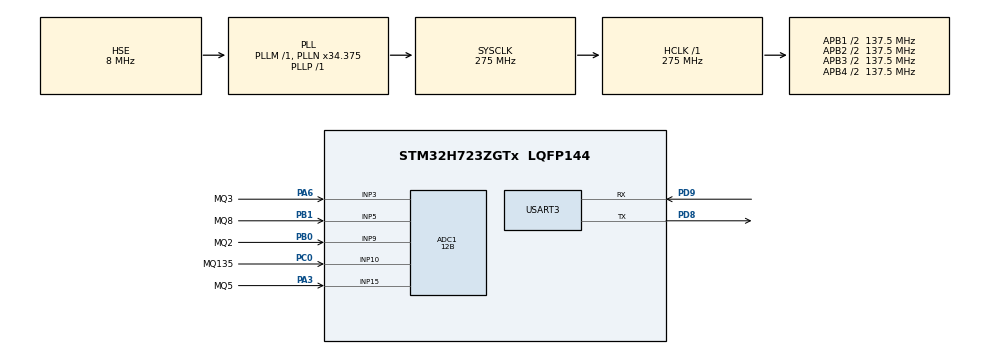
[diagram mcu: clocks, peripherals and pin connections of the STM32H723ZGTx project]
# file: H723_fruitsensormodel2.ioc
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ADC1.Channel-0\#ChannelRegularConversion=ADC_CHANNEL_3
ADC1.Channel-1\#ChannelRegularConversion=ADC_CHANNEL_5
ADC1.Channel-2\#ChannelRegularConversion=ADC_CHANNEL_9
ADC1.Channel-3\#ChannelRegularConversion=ADC_CHANNEL_10
ADC1.Channel-4\#ChannelRegularConversion=ADC_CHANNEL_15
ADC1.ContinuousConvMode=ENABLE
ADC1.NbrOfConversion=5
ADC1.NbrOfConversionFlag=1
ADC1.OffsetNumber-0\#ChannelRegularConversion=ADC_OFFSET_NONE
ADC1.OffsetNumber-1\#ChannelRegularConversion=ADC_OFFSET_NONE
ADC1.OffsetNumber-2\#ChannelRegularConversion=ADC_OFFSET_NONE
ADC1.OffsetNumber-3\#ChannelRegularConversion=ADC_OFFSET_NONE
ADC1.OffsetNumber-4\#ChannelRegularConversion=ADC_OFFSET_NONE
ADC1.OffsetSignedSaturation-0\#ChannelRegularConversion=DISABLE
ADC1.Rank-0\#ChannelRegularConversion=1
ADC1.Rank-1\#ChannelRegularConversion=2
ADC1.Rank-2\#ChannelRegularConversion=3
ADC1.Rank-3\#ChannelRegularConversion=4
ADC1.Rank-4\#ChannelRegularConversion=5
ADC1.Resolution=ADC_RESOLUTION_12B
ADC1.SamplingTime-0\#ChannelRegularConversion=ADC_SAMPLETIME_387CYCLES_5
ADC1.SamplingTime-1\#ChannelRegularConversion=ADC_SAMPLETIME_387CYCLES_5
ADC1.SamplingTime-2\#ChannelRegularConversion=ADC_SAMPLETIME_387CYCLES_5
ADC1.SamplingTime-3\#ChannelRegularConversion=ADC_SAMPLETIME_387CYCLES_5
ADC1.SamplingTime-4\#ChannelRegularConversion=ADC_SAMPLETIME_387CYCLES_5
ADC1.master=1
CORTEX_M7.CPU_DCache=Enabled
CORTEX_M7.CPU_ICache=Enabled
CORTEX_M7.default_mode_Activation=1
Mcu.Family=STM32H7
Mcu.Name=STM32H723ZGTx
Mcu.Package=LQFP144
NVIC.ADC_IRQn=true\:0\:0\:false\:false\:true\:true\:true\:true
NVIC.PriorityGroup=NVIC_PRIORITYGROUP_4
PA3.GPIO_Label=MQ5
PA3.Signal=ADCx_INP15
PA6.GPIO_Label=MQ3
PA6.Signal=ADCx_INP3
PB0.GPIO_Label=MQ2
PB0.Signal=ADCx_INP9
PB1.GPIO_Label=MQ8
PB1.Signal=ADCx_INP5
PC0.GPIO_Label=MQ135
PC0.Signal=ADCx_INP10
PD8.Mode=Asynchronous
PD8.Signal=USART3_TX
PD9.Mode=Asynchronous
PD9.Signal=USART3_RX
PH0-OSC_IN.Mode=HSE-External-Clock-Source
PH0-OSC_IN.Signal=RCC_OSC_IN
ProjectManager.HeapSize=0x800
ProjectManager.StackSize=0x800
ProjectManager.TargetToolchain=STM32CubeIDE
RCC.ADCFreq_Value=96000000
RCC.APB1Freq_Value=137500000
RCC.APB2Freq_Value=137500000
RCC.APB3Freq_Value=137500000
RCC.APB4Freq_Value=137500000
RCC.CortexFreq_Value=275000000
RCC.D1PPRE=RCC_APB3_DIV2
RCC.D2PPRE1=RCC_APB1_DIV2
RCC.D2PPRE2=RCC_APB2_DIV2
RCC.D3PPRE=RCC_APB4_DIV2
RCC.DIVM1=1
RCC.DIVM2=1
RCC.DIVN1=34
RCC.DIVN2=24
RCC.DIVP1=1
RCC.DIVQ1=4
RCC.HCLKFreq_Value=275000000
RCC.HSE_VALUE=8000000
RCC.PLL2FRACN=0
RCC.PLLFRACN=3072
RCC.PLLSourceVirtual=RCC_PLLSOURCE_HSE
RCC.SYSCLKFreq_VALUE=275000000
RCC.SYSCLKSource=RCC_SYSCLKSOURCE_PLLCLK
RCC.USBCLockSelection=RCC_USBCLKSOURCE_HSI48
RCC.USBFreq_Value=48000000
SH.ADCx_INP10.0=ADC1_INP10,IN10-Single-Ended
SH.ADCx_INP15.0=ADC1_INP15,IN15-Single-Ended
SH.ADCx_INP3.0=ADC1_INP3,IN3-Single-Ended
SH.ADCx_INP5.0=ADC1_INP5,IN5-Single-Ended
SH.ADCx_INP9.0=ADC1_INP9,IN9-Single-Ended
STMicroelectronics.X-CUBE-AI.9.0.0.ActivationBufferSizeList=196
STMicroelectronics.X-CUBE-AI.9.0.0.ActivationBuffers=pool0
STMicroelectronics.X-CUBE-AI.9.0.0.ActivationNames=pool0
STMicroelectronics.X-CUBE-AI.9.0.0.ActivationSizes=AI_NETWORK_DATA_ACTIVATION_1_SIZE
STMicroelectronics.X-CUBE-AI.9.0.0.ApplicationCcDeviceJjApplication=SystemPerformance
STMicroelectronics.X-CUBE-AI.9.0.0.BSP.number=1
STMicroelectronics.X-CUBE-AI.9.0.0.HeapSize=0x800
STMicroelectronics.X-CUBE-AI.9.0.0.InternalRamActivationBufferMaxSize=AI_NETWORK_DATA_ACTIVATIONS_SIZE
STMicroelectronics.X-CUBE-AI.9.0.0.LatestDirectoryUsed-d72144a6ae931de610808f00c2bc278851ed192fb6b926bebb1003e5616d4512=C\:\\Users\\gouiaa\\Downloads\\New folder
STMicroelectronics.X-CUBE-AI.9.0.0.MaximumNumberOfInputLayer=1
STMicroelectronics.X-CUBE-AI.9.0.0.MaximumNumberOfOutputLayer=1
STMicroelectronics.X-CUBE-AI.9.0.0.MaximumSizeOfInputLayer=1
STMicroelectronics.X-CUBE-AI.9.0.0.MaximumSizeOfOutputLayer=1
STMicroelectronics.X-CUBE-AI.9.0.0.ModelActualCompression-d72144a6ae931de610808f00c2bc278851ed192fb6b926bebb1003e5616d4512=0.0
STMicroelectronics.X-CUBE-AI.9.0.0.ModelCompression-d72144a6ae931de610808f00c2bc278851ed192fb6b926bebb1003e5616d4512=None
STMicroelectronics.X-CUBE-AI.9.0.0.ModelFlashOccupation-d72144a6ae931de610808f00c2bc278851ed192fb6b926bebb1003e5616d4512=316
STMicroelectronics.X-CUBE-AI.9.0.0.ModelHashList=d72144a6ae931de610808f00c2bc278851ed192fb6b926bebb1003e5616d4512
STMicroelectronics.X-CUBE-AI.9.0.0.ModelKind-d72144a6ae931de610808f00c2bc278851ed192fb6b926bebb1003e5616d4512=TFLITE
STMicroelectronics.X-CUBE-AI.9.0.0.ModelMacc-d72144a6ae931de610808f00c2bc278851ed192fb6b926bebb1003e5616d4512=242
STMicroelectronics.X-CUBE-AI.9.0.0.ModelName-d72144a6ae931de610808f00c2bc278851ed192fb6b926bebb1003e5616d4512=network
STMicroelectronics.X-CUBE-AI.9.0.0.ModelNameList=network
STMicroelectronics.X-CUBE-AI.9.0.0.ModelRamOccupation-d72144a6ae931de610808f00c2bc278851ed192fb6b926bebb1003e5616d4512=196
STMicroelectronics.X-CUBE-AI.9.0.0.ModelStructureFile-d72144a6ae931de610808f00c2bc278851ed192fb6b926bebb1003e5616d4512=C\:\\Users\\gouiaa\\Downloads\\New folder\\fruit_model_int8.tflite
STMicroelectronics.X-CUBE-AI.9.0.0.ModelType-d72144a6ae931de610808f00c2bc278851ed192fb6b926bebb1003e5616d4512=STM32Cube.AI MCU runtime
STMicroelectronics.X-CUBE-AI.9.0.0.ReadyForCodeGeneration=true
STMicroelectronics.X-CUBE-AI.9.0.0.StackSize=0x800
STMicroelectronics.X-CUBE-AI.9.0.0.WorkingBufferStartAddrList=0xFFFFFFFF
STMicroelectronics.X-CUBE-AI.9.0.0.XAaCUBEAaAICcArtificialOoIntelligenceJjCore=true
STMicroelectronics.X-CUBE-AI.9.0.0.copyWeightToRam=false
STMicroelectronics.X-CUBE-AI.9.0.0.copyWeightToRam-d72144a6ae931de610808f00c2bc278851ed192fb6b926bebb1003e5616d4512=false
STMicroelectronics.X-CUBE-AI.9.0.0.customLayerConfigEnabled=false
STMicroelectronics.X-CUBE-AI.9.0.0.customLayerConfigEnabled-d72144a6ae931de610808f00c2bc278851ed192fb6b926bebb1003e5616d4512=false
STMicroelectronics.X-CUBE-AI.9.0.0.noOnnxIoTranspose=false
STMicroelectronics.X-CUBE-AI.9.0.0.noOnnxIoTranspose-d72144a6ae931de610808f00c2bc278851ed192fb6b926bebb1003e5616d4512=false
STMicroelectronics.X-CUBE-AI.9.0.0.useInputAllocation=true
STMicroelectronics.X-CUBE-AI.9.0.0.useInputAllocation-d72144a6ae931de610808f00c2bc278851ed192fb6b926bebb1003e5616d4512=true
STMicroelectronics.X-CUBE-AI.9.0.0.useOutputAllocation=true
STMicroelectronics.X-CUBE-AI.9.0.0.useOutputAllocation-d72144a6ae931de610808f00c2bc278851ed192fb6b926bebb1003e5616d4512=true
STMicroelectronics.X-CUBE-AI.9.0.00.BSP.STBoard=false
STMicroelectronics.X-CUBE-AI.9.0.00.BSP.api=Unknown
STMicroelectronics.X-CUBE-AI.9.0.00.BSP.condition=\!SEMDeviceJjApplicationJjApplicationTemplate
STMicroelectronics.X-CUBE-AI.9.0.00.BSP.instance=USART3
STMicroelectronics.X-CUBE-AI.9.0.00.BSP.ip=USART
STMicroelectronics.X-CUBE-AI.9.0.00.BSP.mode=Asynchronous
STMicroelectronics.X-CUBE-AI.9.0.00.BSP.name=COM Port
STMicroelectronics.X-CUBE-AI.9.0.00.BSP.solution=USART3
USART3.VirtualMode-Asynchronous=VM_ASYNC
VP_MEMORYMAP_VS_MEMORYMAP.Mode=CurAppReg
VP_STMicroelectronics.X-CUBE-AI_VS_ArtificialOoIntelligenceJjXAaCUBEAaAI_9.0.0.Mode=ArtificialOoIntelligenceJjXAaCUBEAaAI
VP_STMicroelectronics.X-CUBE-AI_VS_DeviceJjApplication_9.0.0.Mode=DeviceJjApplication
board=NUCLEO-H723ZG

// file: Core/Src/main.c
/* USER CODE BEGIN Header */
/**
  ******************************************************************************
  * @file           : main.c
  * @brief          : Main program body
  ******************************************************************************
  * @attention
  *
  * Copyright (c) 2026 STMicroelectronics.
  * All rights reserved.
  *
  * This software is licensed under terms that can be found in the LICENSE file
  * in the root directory of this software component.
  * If no LICENSE file comes with this software, it is provided AS-IS.
  *
  ******************************************************************************
  */
/* USER CODE END Header */
#include "main.h"
#include "app_x-cube-ai.h"

ADC_HandleTypeDef hadc1;

UART_HandleTypeDef huart3;

void SystemClock_Config(void);
static void MPU_Config(void);
static void MX_GPIO_Init(void);
static void MX_ADC1_Init(void);

int main(void)
{

  /* MPU Configuration--------------------------------------------------------*/
  MPU_Config();

  /* Enable the CPU Cache */

  /* Enable I-Cache---------------------------------------------------------*/
  SCB_EnableICache();

  /* Enable D-Cache---------------------------------------------------------*/
  SCB_EnableDCache();

  /* MCU Configuration--------------------------------------------------------*/

  /* Reset of all peripherals, Initializes the Flash interface and the Systick. */
  HAL_Init();

  /* Configure the system clock */
  SystemClock_Config();

  /* Initialize all configured peripherals */
  MX_GPIO_Init();
  MX_ADC1_Init();
  MX_X_CUBE_AI_Init();
  /* USER CODE BEGIN 2 */
  MX_USART3_UART_Init();

  /* USER CODE END 2 */

  /* Infinite loop */
  while (1)
  {

  MX_X_CUBE_AI_Process();
  HAL_Delay(1000);
  }
}

void SystemClock_Config(void)
{
  RCC_OscInitTypeDef RCC_OscInitStruct = {0};
  RCC_ClkInitTypeDef RCC_ClkInitStruct = {0};

  /** Supply configuration update enable
  */
  HAL_PWREx_ConfigSupply(PWR_LDO_SUPPLY);

  /** Configure the main internal regulator output voltage
  */
  __HAL_PWR_VOLTAGESCALING_CONFIG(PWR_REGULATOR_VOLTAGE_SCALE0);

  while(!__HAL_PWR_GET_FLAG(PWR_FLAG_VOSRDY)) {}

  /** Initializes the RCC Oscillators according to the specified parameters
  * in the RCC_OscInitTypeDef structure.
  */
  RCC_OscInitStruct.OscillatorType = RCC_OSCILLATORTYPE_HSE;
  RCC_OscInitStruct.HSEState = RCC_HSE_BYPASS;
  RCC_OscInitStruct.PLL.PLLState = RCC_PLL_ON;
  RCC_OscInitStruct.PLL.PLLSource = RCC_PLLSOURCE_HSE;
  RCC_OscInitStruct.PLL.PLLM = 1;
  RCC_OscInitStruct.PLL.PLLN = 34;
  RCC_OscInitStruct.PLL.PLLP = 1;
  RCC_OscInitStruct.PLL.PLLQ = 4;
  RCC_OscInitStruct.PLL.PLLR = 2;
  RCC_OscInitStruct.PLL.PLLRGE = RCC_PLL1VCIRANGE_3;
  RCC_OscInitStruct.PLL.PLLVCOSEL = RCC_PLL1VCOWIDE;
  RCC_OscInitStruct.PLL.PLLFRACN = 3072;
  if (HAL_RCC_OscConfig(&RCC_OscInitStruct) != HAL_OK)
  {
    Error_Handler();
  }

  /** Initializes the CPU, AHB and APB buses clocks
  */
  RCC_ClkInitStruct.ClockType = RCC_CLOCKTYPE_HCLK|RCC_CLOCKTYPE_SYSCLK
                              |RCC_CLOCKTYPE_PCLK1|RCC_CLOCKTYPE_PCLK2
                              |RCC_CLOCKTYPE_D3PCLK1|RCC_CLOCKTYPE_D1PCLK1;
  RCC_ClkInitStruct.SYSCLKSource = RCC_SYSCLKSOURCE_PLLCLK;
  RCC_ClkInitStruct.SYSCLKDivider = RCC_SYSCLK_DIV1;
  RCC_ClkInitStruct.AHBCLKDivider = RCC_HCLK_DIV1;
  RCC_ClkInitStruct.APB3CLKDivider = RCC_APB3_DIV2;
  RCC_ClkInitStruct.APB1CLKDivider = RCC_APB1_DIV2;
  RCC_ClkInitStruct.APB2CLKDivider = RCC_APB2_DIV2;
  RCC_ClkInitStruct.APB4CLKDivider = RCC_APB4_DIV2;

  if (HAL_RCC_ClockConfig(&RCC_ClkInitStruct, FLASH_LATENCY_3) != HAL_OK)
  {
    Error_Handler();
  }
}

static void MX_ADC1_Init(void)
{

  ADC_MultiModeTypeDef multimode = {0};
  ADC_ChannelConfTypeDef sConfig = {0};

  /** Common config
  */
  hadc1.Instance = ADC1;
  hadc1.Init.ClockPrescaler = ADC_CLOCK_ASYNC_DIV1;
  hadc1.Init.Resolution = ADC_RESOLUTION_12B;
  hadc1.Init.ScanConvMode = ADC_SCAN_ENABLE;
  hadc1.Init.EOCSelection = ADC_EOC_SINGLE_CONV;
  hadc1.Init.LowPowerAutoWait = DISABLE;
  hadc1.Init.ContinuousConvMode = ENABLE;
  hadc1.Init.NbrOfConversion = 5;
  hadc1.Init.DiscontinuousConvMode = DISABLE;
  hadc1.Init.ExternalTrigConv = ADC_SOFTWARE_START;
  hadc1.Init.ExternalTrigConvEdge = ADC_EXTERNALTRIGCONVEDGE_NONE;
  hadc1.Init.ConversionDataManagement = ADC_CONVERSIONDATA_DR;
  hadc1.Init.Overrun = ADC_OVR_DATA_PRESERVED;
  hadc1.Init.LeftBitShift = ADC_LEFTBITSHIFT_NONE;
  hadc1.Init.OversamplingMode = DISABLE;
  hadc1.Init.Oversampling.Ratio = 1;
  if (HAL_ADC_Init(&hadc1) != HAL_OK)
  {
    Error_Handler();
  }

  /** Configure the ADC multi-mode
  */
  multimode.Mode = ADC_MODE_INDEPENDENT;
  if (HAL_ADCEx_MultiModeConfigChannel(&hadc1, &multimode) != HAL_OK)
  {
    Error_Handler();
  }

  /** Configure Regular Channel
  */
  sConfig.Channel = ADC_CHANNEL_3;
  sConfig.Rank = ADC_REGULAR_RANK_1;
  sConfig.SamplingTime = ADC_SAMPLETIME_387CYCLES_5;
  sConfig.SingleDiff = ADC_SINGLE_ENDED;
  sConfig.OffsetNumber = ADC_OFFSET_NONE;
  sConfig.Offset = 0;
  sConfig.OffsetSignedSaturation = DISABLE;
  if (HAL_ADC_ConfigChannel(&hadc1, &sConfig) != HAL_OK)
  {
    Error_Handler();
  }

  /** Configure Regular Channel
  */
  sConfig.Channel = ADC_CHANNEL_5;
  sConfig.Rank = ADC_REGULAR_RANK_2;
  if (HAL_ADC_ConfigChannel(&hadc1, &sConfig) != HAL_OK)
  {
    Error_Handler();
  }

  /** Configure Regular Channel
  */
  sConfig.Channel = ADC_CHANNEL_9;
  sConfig.Rank = ADC_REGULAR_RANK_3;
  if (HAL_ADC_ConfigChannel(&hadc1, &sConfig) != HAL_OK)
  {
    Error_Handler();
  }

  /** Configure Regular Channel
  */
  sConfig.Channel = ADC_CHANNEL_10;
  sConfig.Rank = ADC_REGULAR_RANK_4;
  if (HAL_ADC_ConfigChannel(&hadc1, &sConfig) != HAL_OK)
  {
    Error_Handler();
  }

  /** Configure Regular Channel
  */
  sConfig.Channel = ADC_CHANNEL_15;
  sConfig.Rank = ADC_REGULAR_RANK_5;
  if (HAL_ADC_ConfigChannel(&hadc1, &sConfig) != HAL_OK)
  {
    Error_Handler();
  }

}

void MX_USART3_UART_Init(void)
{

  huart3.Instance = USART3;
  huart3.Init.BaudRate = 115200;
  huart3.Init.WordLength = UART_WORDLENGTH_8B;
  huart3.Init.StopBits = UART_STOPBITS_1;
  huart3.Init.Parity = UART_PARITY_NONE;
  huart3.Init.Mode = UART_MODE_TX_RX;
  huart3.Init.HwFlowCtl = UART_HWCONTROL_NONE;
  huart3.Init.OverSampling = UART_OVERSAMPLING_16;
  huart3.Init.OneBitSampling = UART_ONE_BIT_SAMPLE_DISABLE;
  huart3.Init.ClockPrescaler = UART_PRESCALER_DIV1;
  huart3.AdvancedInit.AdvFeatureInit = UART_ADVFEATURE_NO_INIT;
  if (HAL_UART_Init(&huart3) != HAL_OK)
  {
    Error_Handler();
  }
  if (HAL_UARTEx_SetTxFifoThreshold(&huart3, UART_TXFIFO_THRESHOLD_1_8) != HAL_OK)
  {
    Error_Handler();
  }
  if (HAL_UARTEx_SetRxFifoThreshold(&huart3, UART_RXFIFO_THRESHOLD_1_8) != HAL_OK)
  {
    Error_Handler();
  }
  if (HAL_UARTEx_DisableFifoMode(&huart3) != HAL_OK)
  {
    Error_Handler();
  }

}

static void MX_GPIO_Init(void)
{

  /* GPIO Ports Clock Enable */
  __HAL_RCC_GPIOH_CLK_ENABLE();
  __HAL_RCC_GPIOC_CLK_ENABLE();
  __HAL_RCC_GPIOA_CLK_ENABLE();
  __HAL_RCC_GPIOB_CLK_ENABLE();
  __HAL_RCC_GPIOD_CLK_ENABLE();

}

/* USER CODE BEGIN 4 */
void Read_All_Sensors(float *mq2,
                      float *mq3,
                      float *mq5,
                      float *mq8,
                      float *mq135)
{
    uint32_t adc_vals[5];

    HAL_ADC_Start(&hadc1);

    for(int i=0;i<5;i++)
    {
        HAL_ADC_PollForConversion(&hadc1,100);
        adc_vals[i] = HAL_ADC_GetValue(&hadc1);
    }

    HAL_ADC_Stop(&hadc1);

    *mq5   = adc_vals[0];
    *mq8   = adc_vals[1];
    *mq2   = adc_vals[2];
    *mq135 = adc_vals[3];
    *mq3   = adc_vals[4];
}
/* USER CODE END 4 */

 /* MPU Configuration */

void MPU_Config(void)
{  MPU_Region_InitTypeDef MPU_InitStruct = {0};

  /* Disables the MPU */
  HAL_MPU_Disable();

  /** Initializes and configures the Region and the memory to be protected
  */
  MPU_InitStruct.Enable = MPU_REGION_ENABLE;
  MPU_InitStruct.Number = MPU_REGION_NUMBER0;
  MPU_InitStruct.BaseAddress = 0x0;
  MPU_InitStruct.Size = MPU_REGION_SIZE_4GB;
  MPU_InitStruct.SubRegionDisable = 0x87;
  MPU_InitStruct.TypeExtField = MPU_TEX_LEVEL0;
  MPU_InitStruct.AccessPermission = MPU_REGION_NO_ACCESS;
  MPU_InitStruct.DisableExec = MPU_INSTRUCTION_ACCESS_DISABLE;
  MPU_InitStruct.IsShareable = MPU_ACCESS_SHAREABLE;
  MPU_InitStruct.IsCacheable = MPU_ACCESS_NOT_CACHEABLE;
  MPU_InitStruct.IsBufferable = MPU_ACCESS_NOT_BUFFERABLE;

  HAL_MPU_ConfigRegion(&MPU_InitStruct);
  /* Enables the MPU */
  HAL_MPU_Enable(MPU_PRIVILEGED_DEFAULT);

}

void Error_Handler(void)
{
  __disable_irq();
  while (1)
  {
  }
}
